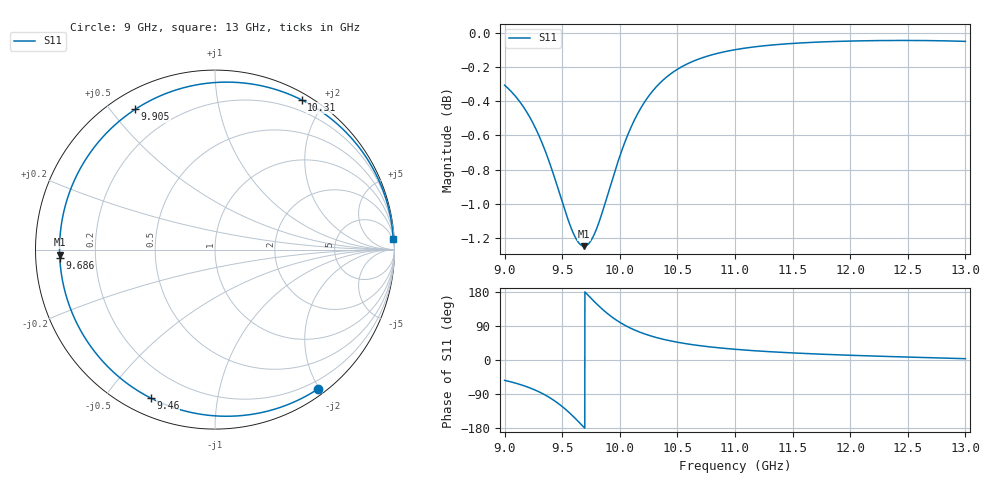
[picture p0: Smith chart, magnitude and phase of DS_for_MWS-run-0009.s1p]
! TOUCHSTONE file generated by CST DESIGN STUDIO
! Date and time: Tue Feb  4 18:31:39 2025
! Project name: C:\Work\MatlabApps\UnitCellOptimizationMatlab\CST\unitcell.cst
! Tree item: Tasks\Sweep1\SPara1\S-Parameters
! Header version: 2024
! Port assignment regex: !\s*Touchstone port\s*([0-9]+)\s*=\s*(CST MWS port|CST DES external port|CST DES block port)\s*(.+)\s* \(\"(.*)\"\)(\s*mode\s*([0-9]+))?.*
! Touchstone port assignment:
! Touchstone port 1 = CST DES external port 1 ("")
# GHz S MA R 50
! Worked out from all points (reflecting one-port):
!   4001 points, 9 GHz to 13 GHz, reference 50 ohm
!   lowest |S11| = -1.2 dB at 9.69 GHz (marker M1), VSWR 13.95, Z = 3.59 - j0.833 ohm
!   phase of S11 starts at -54 deg and turns -303 deg over the sweep
!   S11 on the Smith chart (normalised r, x): 9 GHz: 0.09, -1.97; 9.46 GHz: 0.07, -0.65; 9.686 GHz: 0.07, -0.03; 9.905 GHz: 0.07, +0.58; 10.31 GHz: 0.07, +1.73; 13 GHz: 3, +33
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9  0.9654 -53.7
9.122  0.9556 -63.5
9.239  0.942 -76.0
9.363  0.9216 -94.2
9.46  0.9013 -113.4
9.5  0.8925 -122.8
9.552  0.8816 -136.4
9.605  0.8725 -151.6
9.647  0.8679 -164.5
9.686  0.8662 -176.8
9.69  0.8662 -178.1
9.735  0.8681 167.6
9.783  0.8739 152.8
9.845  0.8856 135.0
9.905  0.8991 119.6
9.951  0.9096 109.2
10  0.9203 99.4
10.068  0.9334 87.8
10.149  0.9462 76.5
10.226  0.9557 67.7
10.309  0.9637 60.0
10.5  0.9758 46.9
10.719  0.9834 36.9
11  0.9887 28.3
11.5  0.9929 18.7
12  0.9945 12.5
12.5  0.9949 7.7
13  0.9943 3.4
